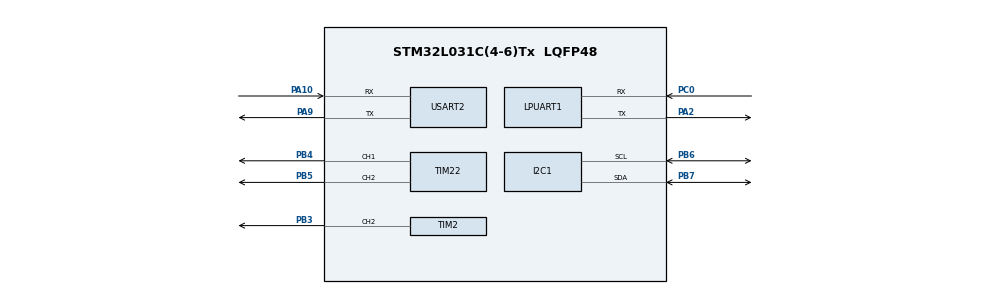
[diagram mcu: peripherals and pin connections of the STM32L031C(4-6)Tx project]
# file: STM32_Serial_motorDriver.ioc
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I2C1.Timing=0x00000608
Mcu.Family=STM32L0
Mcu.Name=STM32L031C(4-6)Tx
Mcu.Package=LQFP48
NVIC.USART2_IRQn=true\:0\:0\:false\:false\:true\:true\:true\:true
PA10.Mode=Asynchronous
PA10.Signal=USART2_RX
PA2.Mode=Asynchronous
PA2.Signal=LPUART1_TX
PA9.Mode=Asynchronous
PA9.Signal=USART2_TX
PB3.Signal=S_TIM2_CH2
PB4.Signal=S_TIM22_CH1
PB5.Signal=S_TIM22_CH2
PB6.Mode=I2C
PB6.Signal=I2C1_SCL
PB7.Mode=I2C
PB7.Signal=I2C1_SDA
PC0.Mode=Asynchronous
PC0.Signal=LPUART1_RX
PH0-OSC_IN.Mode=HSE-External-Oscillator
PH0-OSC_IN.Signal=RCC_OSC_IN
PH1-OSC_OUT.Mode=HSE-External-Oscillator
PH1-OSC_OUT.Signal=RCC_OSC_OUT
ProjectManager.HeapSize=0x200
ProjectManager.StackSize=0x400
ProjectManager.TargetToolchain=STM32CubeIDE
RCC.AHBFreq_Value=2097000
RCC.APB1Freq_Value=2097000
RCC.APB1TimFreq_Value=2097000
RCC.APB2Freq_Value=2097000
RCC.APB2TimFreq_Value=2097000
RCC.HSE_VALUE=8000000
RCC.HSI16_VALUE=16000000
RCC.HSI_VALUE=16000000
RCC.LSE_VALUE=32768
RCC.MSI_VALUE=2097000
RCC.SYSCLKFreq_VALUE=2097000
RCC.VCOOutputFreq_Value=48000000
SH.S_TIM22_CH1.0=TIM22_CH1,PWM Generation1 CH1
SH.S_TIM22_CH2.0=TIM22_CH2,PWM Generation2 CH2
SH.S_TIM2_CH2.0=TIM2_CH2,PWM Generation2 CH2
TIM2.Channel-PWM\ Generation2\ CH2=TIM_CHANNEL_2
TIM22.Channel-PWM\ Generation1\ CH1=TIM_CHANNEL_1
TIM22.Channel-PWM\ Generation2\ CH2=TIM_CHANNEL_2
USART2.VirtualMode-Asynchronous=VM_ASYNC
VP_TIM22_VS_ClockSourceINT.Mode=Internal
VP_TIM2_VS_ClockSourceINT.Mode=Internal
board=custom

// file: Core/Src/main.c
/* USER CODE BEGIN Header */
/**
  ******************************************************************************
  * @file           : main.c
  * @brief          : Main program body
  ******************************************************************************
  * @attention
  *
  * Copyright (c) 2025 STMicroelectronics.
  * All rights reserved.
  *
  * This software is licensed under terms that can be found in the LICENSE file
  * in the root directory of this software component.
  * If no LICENSE file comes with this software, it is provided AS-IS.
  *
  ******************************************************************************
  */
/* USER CODE END Header */
#include "main.h"

/* USER CODE BEGIN Includes */
#include <stdio.h>
/* USER CODE END Includes */

/* USER CODE BEGIN PD */
#define INA219_ADDRESS (0x40<<1 )
#define REG_SHUNT_VOLTAGE   0x01
#define REG_BUS_VOLTAGE		0x02
#define REG_POWER           0x03
#define REG_CURRENT         0x04
#define REG_CALIBRATION		0x05

// INA219 calibration for 33.3 mΩ shunt, 10A range
#define INA219_CAL_VALUE     0x0C00
#define INA219_CURRENT_LSB   0.0004f   // A per bit (0.4 mA)
#define INA219_POWER_LSB     (20.0f * INA219_CURRENT_LSB) // 0.008 W per bit

/* USER CODE END PD */

UART_HandleTypeDef hlpuart1;
UART_HandleTypeDef huart2;

TIM_HandleTypeDef htim2;
TIM_HandleTypeDef htim22;

/* USER CODE BEGIN PV */
uint8_t packet[4] = {0};  // Buffer for packet
uint8_t idx = 0;          // Index for packet building
uint8_t rxByte = 0;       // Single byte for IT reception

#define MIN_PULSE   1000   // µs
#define NEUTRAL     1500   // µs
#define MAX_PULSE   2000   // µs

uint32_t lastMotorCommandTime = 0;
const uint32_t MOTOR_TIMEOUT = 1000; // ms

I2C_HandleTypeDef hi2c1; // Generated by CubeMX

float bus_voltage = 0.0f;
static uint32_t sensorTick = 0;
int16_t raw_current = 0;
float current_mA = 0.0f;

static volatile uint8_t uart2_tx_busy = 0;

typedef struct __attribute__((packed)) {
    uint8_t header;     // 0x55
    uint16_t bus_raw;   // e.g. 0x5FC2
    int16_t cur_raw;   // e.g. 0x00D0
    uint8_t end;        // '\n'
} TelemetryFrame;

static TelemetryFrame tx_frame;

/* USER CODE END PV */

void SystemClock_Config(void);
static void MX_GPIO_Init(void);
static void MX_USART2_UART_Init(void);
static void MX_LPUART1_UART_Init(void);
static void MX_TIM2_Init(void);
static void MX_TIM22_Init(void);
static void MX_I2C1_Init(void); // Prototype added to fix 'implicit declaration'
/* USER CODE BEGIN PFP */
void handleESC(uint8_t dir, uint8_t speedA, uint8_t speedB);
void UART_ProcessByte(uint8_t byte);
uint16_t mapValue(uint16_t x, uint16_t in_min, uint16_t in_max, uint16_t out_min, uint16_t out_max);
uint16_t constrainValue(uint16_t x, uint16_t min_val, uint16_t max_val);
void ESC_SetPulse_us(TIM_HandleTypeDef *htim, uint32_t Channel, uint32_t pulse_us);
void UART2_SendTelemetry(uint16_t bus_raw, int16_t cur_raw);
/* USER CODE END PFP */

int main(void)
{
  HAL_Init();
  SystemClock_Config();

  /* Initialize all configured peripherals */
  MX_GPIO_Init();
  MX_USART2_UART_Init();
  MX_LPUART1_UART_Init();
  MX_TIM2_Init();
  MX_TIM22_Init();
  MX_I2C1_Init(); //

  HAL_Delay(50);

  // Debug helper: check device ready
  if (HAL_I2C_IsDeviceReady(&hi2c1, INA219_ADDRESS, 3, 1000) != HAL_OK) {
      printf("INA219 NOT READY at 0x%02X (HAL_I2C_IsDeviceReady failed)\r\n", (INA219_ADDRESS>>1));
      while(1);
  } else {
      printf("INA219 READY at 0x%02X\r\n", (INA219_ADDRESS>>1));
  }

  // Write calibration register (2 bytes) using Mem_Write
  {
      uint8_t cal_buf[2] = { 0x10, 0x00 }; // 0x1000 example calibration
      if (HAL_I2C_Mem_Write(&hi2c1, INA219_ADDRESS, REG_CALIBRATION,
                            I2C_MEMADD_SIZE_8BIT, cal_buf, 2, 1000) != HAL_OK) {
    	  uint32_t err = HAL_I2C_GetError(&hi2c1);
    	  printf("Cal write failed (I2C err=0x%08lX)\r\n", err);

      } else {
          printf("Cal written OK\r\n");
      }
  }

  /* USER CODE BEGIN 2 */
  HAL_TIM_PWM_Start(&htim2, TIM_CHANNEL_2);
  HAL_TIM_PWM_Start(&htim22, TIM_CHANNEL_1);
  HAL_TIM_PWM_Start(&htim22, TIM_CHANNEL_2);

  // Calibration: INA219 registers are Big-Endian (MSB first)
  uint8_t cal_data[3];
  cal_data[0] = REG_CALIBRATION;
  cal_data[1] = 0x10; // MSB
  cal_data[2] = 0x00; // LSB
  HAL_I2C_Master_Transmit(&hi2c1, INA219_ADDRESS, cal_data, 3, 100);

  HAL_UART_Receive_IT(&huart2, &rxByte, 1);
  handleESC(0, 0, 0);
  /* USER CODE END 2 */

  /* USER CODE BEGIN WHILE */
    while (1)
    {
      // Motor Safety Timeout
      if (HAL_GetTick() - lastMotorCommandTime > MOTOR_TIMEOUT) {
        handleESC(0, 0, 0);
      }

      // Sensor Read & Telemetry Loop (100ms)
      if (HAL_GetTick() - sensorTick > 100) {
          sensorTick = HAL_GetTick();
          uint8_t data[2];
          uint16_t v_temp = 0;
          int16_t i_temp = 0;

          // 1. Read Bus Voltage
          if (HAL_I2C_Mem_Read(&hi2c1, INA219_ADDRESS, REG_BUS_VOLTAGE,
                               I2C_MEMADD_SIZE_8BIT, data, 2, 100) == HAL_OK) {
              v_temp = (data[0] << 8) | data[1];
          }

          // 2. Read Current
          if (HAL_I2C_Mem_Read(&hi2c1, INA219_ADDRESS, REG_CURRENT,
                               I2C_MEMADD_SIZE_8BIT, data, 2, 100) == HAL_OK) {
              i_temp = (int16_t)((data[0] << 8) | data[1]);
          }

          // 3. Send via USART2 (TX)
          UART2_SendTelemetry(v_temp, i_temp);

          // Optional: Keep LPUART1 for human-readable debugging
          printf("Sent Telemetry: V=0x%04X I=0x%04X\r\n", v_temp, i_temp);
      }
      /* USER CODE END 3 */
    }
  /* USER CODE END 3 */
}

void SystemClock_Config(void)
{
  RCC_OscInitTypeDef RCC_OscInitStruct = {0};
  RCC_ClkInitTypeDef RCC_ClkInitStruct = {0};
  RCC_PeriphCLKInitTypeDef PeriphClkInit = {0};

  /** Configure the main internal regulator output voltage
  */
  __HAL_PWR_VOLTAGESCALING_CONFIG(PWR_REGULATOR_VOLTAGE_SCALE1);

  /** Initializes the RCC Oscillators according to the specified parameters
  * in the RCC_OscInitTypeDef structure.
  */
  RCC_OscInitStruct.OscillatorType = RCC_OSCILLATORTYPE_HSI;  // Change to HSI
  RCC_OscInitStruct.HSIState = RCC_HSI_ON;
  RCC_OscInitStruct.HSICalibrationValue = RCC_HSICALIBRATION_DEFAULT;  // Factory trim
  RCC_OscInitStruct.PLL.PLLState = RCC_PLL_NONE;
  if (HAL_RCC_OscConfig(&RCC_OscInitStruct) != HAL_OK)
  {
    Error_Handler();
  }

  /** Initializes the CPU, AHB and APB buses clocks
  */
  RCC_ClkInitStruct.ClockType = RCC_CLOCKTYPE_HCLK|RCC_CLOCKTYPE_SYSCLK
                              |RCC_CLOCKTYPE_PCLK1|RCC_CLOCKTYPE_PCLK2;
  RCC_ClkInitStruct.SYSCLKSource = RCC_SYSCLKSOURCE_HSI;  // HSI as source
  RCC_ClkInitStruct.AHBCLKDivider = RCC_SYSCLK_DIV1;
  RCC_ClkInitStruct.APB1CLKDivider = RCC_HCLK_DIV1;
  RCC_ClkInitStruct.APB2CLKDivider = RCC_HCLK_DIV1;

  if (HAL_RCC_ClockConfig(&RCC_ClkInitStruct, FLASH_LATENCY_0) != HAL_OK)
  {
    Error_Handler();
  }
  PeriphClkInit.PeriphClockSelection = RCC_PERIPHCLK_USART2|RCC_PERIPHCLK_LPUART1;
  PeriphClkInit.Usart2ClockSelection = RCC_USART2CLKSOURCE_PCLK1;
  PeriphClkInit.Lpuart1ClockSelection = RCC_LPUART1CLKSOURCE_PCLK1;
  if (HAL_RCCEx_PeriphCLKConfig(&PeriphClkInit) != HAL_OK)
  {
    Error_Handler();
  }
}

static void MX_LPUART1_UART_Init(void)
{

  hlpuart1.Instance = LPUART1;
  hlpuart1.Init.BaudRate = 115200;
  hlpuart1.Init.WordLength = UART_WORDLENGTH_8B;
  hlpuart1.Init.StopBits = UART_STOPBITS_1;
  hlpuart1.Init.Parity = UART_PARITY_NONE;
  hlpuart1.Init.Mode = UART_MODE_TX_RX;
  hlpuart1.Init.HwFlowCtl = UART_HWCONTROL_NONE;
  hlpuart1.Init.OneBitSampling = UART_ONE_BIT_SAMPLE_DISABLE;
  hlpuart1.AdvancedInit.AdvFeatureInit = UART_ADVFEATURE_NO_INIT;
  if (HAL_UART_Init(&hlpuart1) != HAL_OK)
  {
    Error_Handler();
  }

}

static void MX_USART2_UART_Init(void)
{

  huart2.Instance = USART2;
  huart2.Init.BaudRate = 115200;
  huart2.Init.WordLength = UART_WORDLENGTH_8B;
  huart2.Init.StopBits = UART_STOPBITS_1;
  huart2.Init.Parity = UART_PARITY_NONE;
  huart2.Init.Mode = UART_MODE_TX_RX;
  huart2.Init.HwFlowCtl = UART_HWCONTROL_NONE;
  huart2.Init.OverSampling = UART_OVERSAMPLING_16;
  huart2.Init.OneBitSampling = UART_ONE_BIT_SAMPLE_DISABLE;
  huart2.AdvancedInit.AdvFeatureInit = UART_ADVFEATURE_NO_INIT;
  if (HAL_UART_Init(&huart2) != HAL_OK)
  {
    Error_Handler();
  }

}

static void MX_I2C1_Init(void)
{
  hi2c1.Instance = I2C1;
  hi2c1.Init.Timing = 0x00300F38; // Standard Mode 100kHz @ 16MHz HSI
  hi2c1.Init.OwnAddress1 = 0;
  hi2c1.Init.AddressingMode = I2C_ADDRESSINGMODE_7BIT;
  hi2c1.Init.DualAddressMode = I2C_DUALADDRESS_DISABLE;
  hi2c1.Init.OwnAddress2 = 0;
  hi2c1.Init.OwnAddress2Masks = I2C_OA2_NOMASK;
  hi2c1.Init.GeneralCallMode = I2C_GENERALCALL_DISABLE;
  hi2c1.Init.NoStretchMode = I2C_NOSTRETCH_DISABLE;
  if (HAL_I2C_Init(&hi2c1) != HAL_OK)
  {
    Error_Handler();
  }
  /** Configure Analogue filter */
  if (HAL_I2CEx_ConfigAnalogFilter(&hi2c1, I2C_ANALOGFILTER_ENABLE) != HAL_OK)
  {
    Error_Handler();
  }
  /** Configure Digital filter */
  if (HAL_I2CEx_ConfigDigitalFilter(&hi2c1, 0) != HAL_OK)
  {
    Error_Handler();
  }
}
static void MX_TIM2_Init(void)
{

  TIM_ClockConfigTypeDef sClockSourceConfig = {0};
  TIM_MasterConfigTypeDef sMasterConfig = {0};
  TIM_OC_InitTypeDef sConfigOC = {0};

  htim2.Instance = TIM2;
  htim2.Init.Prescaler = 0;
  htim2.Init.CounterMode = TIM_COUNTERMODE_UP;
  htim2.Init.Period = 319999;
  htim2.Init.ClockDivision = TIM_CLOCKDIVISION_DIV1;
  htim2.Init.AutoReloadPreload = TIM_AUTORELOAD_PRELOAD_DISABLE;
  if (HAL_TIM_Base_Init(&htim2) != HAL_OK)
  {
    Error_Handler();
  }
  sClockSourceConfig.ClockSource = TIM_CLOCKSOURCE_INTERNAL;
  if (HAL_TIM_ConfigClockSource(&htim2, &sClockSourceConfig) != HAL_OK)
  {
    Error_Handler();
  }
  if (HAL_TIM_PWM_Init(&htim2) != HAL_OK)
  {
    Error_Handler();
  }
  sMasterConfig.MasterOutputTrigger = TIM_TRGO_RESET;
  sMasterConfig.MasterSlaveMode = TIM_MASTERSLAVEMODE_DISABLE;
  if (HAL_TIMEx_MasterConfigSynchronization(&htim2, &sMasterConfig) != HAL_OK)
  {
    Error_Handler();
  }
  sConfigOC.OCMode = TIM_OCMODE_PWM1;
  sConfigOC.Pulse = 0;
  sConfigOC.OCPolarity = TIM_OCPOLARITY_HIGH;
  sConfigOC.OCFastMode = TIM_OCFAST_DISABLE;
  if (HAL_TIM_PWM_ConfigChannel(&htim2, &sConfigOC, TIM_CHANNEL_2) != HAL_OK)
  {
    Error_Handler();
  }
  HAL_TIM_MspPostInit(&htim2);

}

static void MX_TIM22_Init(void)
{

  TIM_ClockConfigTypeDef sClockSourceConfig = {0};
  TIM_MasterConfigTypeDef sMasterConfig = {0};
  TIM_OC_InitTypeDef sConfigOC = {0};

  htim22.Instance = TIM22;
  htim22.Init.Prescaler = 0;
  htim22.Init.CounterMode = TIM_COUNTERMODE_UP;
  htim22.Init.Period = 319999;
  htim22.Init.ClockDivision = TIM_CLOCKDIVISION_DIV1;
  htim22.Init.AutoReloadPreload = TIM_AUTORELOAD_PRELOAD_DISABLE;
  if (HAL_TIM_Base_Init(&htim22) != HAL_OK)
  {
    Error_Handler();
  }
  sClockSourceConfig.ClockSource = TIM_CLOCKSOURCE_INTERNAL;
  if (HAL_TIM_ConfigClockSource(&htim22, &sClockSourceConfig) != HAL_OK)
  {
    Error_Handler();
  }
  if (HAL_TIM_PWM_Init(&htim22) != HAL_OK)
  {
    Error_Handler();
  }
  sMasterConfig.MasterOutputTrigger = TIM_TRGO_RESET;
  sMasterConfig.MasterSlaveMode = TIM_MASTERSLAVEMODE_DISABLE;
  if (HAL_TIMEx_MasterConfigSynchronization(&htim22, &sMasterConfig) != HAL_OK)
  {
    Error_Handler();
  }
  sConfigOC.OCMode = TIM_OCMODE_PWM1;
  sConfigOC.Pulse = 0;
  sConfigOC.OCPolarity = TIM_OCPOLARITY_HIGH;
  sConfigOC.OCFastMode = TIM_OCFAST_DISABLE;
  if (HAL_TIM_PWM_ConfigChannel(&htim22, &sConfigOC, TIM_CHANNEL_1) != HAL_OK)
  {
    Error_Handler();
  }
  if (HAL_TIM_PWM_ConfigChannel(&htim22, &sConfigOC, TIM_CHANNEL_2) != HAL_OK)
  {
    Error_Handler();
  }
  HAL_TIM_MspPostInit(&htim22);

}

static void MX_GPIO_Init(void)
{

  /* GPIO Ports Clock Enable */
  __HAL_RCC_GPIOC_CLK_ENABLE();
  __HAL_RCC_GPIOH_CLK_ENABLE();
  __HAL_RCC_GPIOA_CLK_ENABLE();
  __HAL_RCC_GPIOB_CLK_ENABLE();

}

/* USER CODE BEGIN 4 */
uint16_t mapValue(uint16_t x, uint16_t in_min, uint16_t in_max, uint16_t out_min, uint16_t out_max)
{
    return (x - in_min) * (out_max - out_min) / (in_max - in_min) + out_min;
}

uint16_t constrainValue(uint16_t x, uint16_t min_val, uint16_t max_val)
{
    if (x < min_val) return min_val;
    if (x > max_val) return max_val;
    return x;
}

void ESC_SetPulse_us(TIM_HandleTypeDef *htim, uint32_t Channel, uint32_t pulse_us)
{
      // Get timer parameters from htim struct
      uint32_t psc = htim->Init.Prescaler;
      uint32_t arr = htim->Init.Period;

      // Try to determine timer clock in Hz.
      // If you know your timer clock constant at compile time, prefer using that value.
      // For example with MSI=2,097,000 and APB dividers=1 => timer_clk = 2097000
      const uint64_t timer_clk_hz = 16000000ULL; // <-- update if you change system clock

      // compare = pulse_us * (timer_clk_hz / (psc+1)) / 1e6
      uint64_t ticks = ( (uint64_t)pulse_us * timer_clk_hz ) / ( (uint64_t)(psc + 1) * 1000000ULL );

      // clamp: ensure compare <= ARR
      if (ticks > arr) ticks = arr;

      __HAL_TIM_SET_COMPARE(htim, Channel, (uint32_t)ticks);
  }

void handleESC(uint8_t dir, uint8_t speedA, uint8_t speedB)
{

    speedA = constrainValue(speedA, 0, 255);
    speedB = constrainValue(speedB, 0, 255);

    uint16_t pulseL = NEUTRAL;
    uint16_t pulseR = NEUTRAL;

    switch (dir) {
    	case 0:  // Stop - ADD THIS CASE
			pulseL = NEUTRAL;
			pulseR = NEUTRAL;
			break;
        case 1:  // Forward
            pulseL = NEUTRAL + mapValue(speedA, 0, 255, 0, 500);
            pulseR = NEUTRAL + mapValue(speedB, 0, 255, 0, 500);
            break;
        case 2:  // Backward
            pulseL = NEUTRAL - mapValue(speedA, 0, 255, 0, 500);
            pulseR = NEUTRAL - mapValue(speedB, 0, 255, 0, 500);
            break;
        case 3:  // Pivot CW
            pulseL = NEUTRAL + mapValue(speedA, 0, 255, 0, 500);
            pulseR = NEUTRAL - mapValue(speedB, 0, 255, 0, 500);
            break;
        case 4:  // Pivot CCW
            pulseL = NEUTRAL - mapValue(speedA, 0, 255, 0, 500);
            pulseR = NEUTRAL + mapValue(speedB, 0, 255, 0, 500);
            break;
    }

    pulseL = constrainValue(pulseL, MIN_PULSE, MAX_PULSE);
    pulseR = constrainValue(pulseR, MIN_PULSE, MAX_PULSE);

    // Example: ESCs on TIM22 CH1 (PB4) and CH2 (PB5)
    ESC_SetPulse_us(&htim22, TIM_CHANNEL_1, pulseL);
    ESC_SetPulse_us(&htim22, TIM_CHANNEL_2, pulseR);
//    printf("PulseA %X PulseB %X \n",pulseL,pulseR);
}

// New function for byte-by-byte processing (called from IT callback)
void UART_ProcessByte(uint8_t byte) {
  if (idx == 0) {
    // Waiting for header
    if (byte == 0xAA) {
      packet[idx++] = byte;
      // printf("Motor packet started\n");  // Uncomment only if needed, but avoid for production
    } else {
      // printf("Invalid byte (no header): 0x%02X\n", byte);  // Avoid blocking print
    }
  } else {
    packet[idx++] = byte;
    if (idx == 4) {
      // Full packet received - process it
      handleESC(packet[1], packet[2], packet[3]);
      lastMotorCommandTime = HAL_GetTick();  // Update timeout timer

      // Optional: Debug print FULL packet only (do this sparingly, or buffer for main loop)
//      printf("Full packet: 0x%02X 0x%02X 0x%02X 0x%02X\n", packet[0], packet[1], packet[2], packet[3]);

      idx = 0;  // Reset for next packet
    }
  }
}
void Data_debug(uint8_t byte) {
	printf("0x%02X\n", byte);
}

// UART RX complete callback (auto-called by HAL on byte reception)
void HAL_UART_RxCpltCallback(UART_HandleTypeDef *huart) {
  if (huart->Instance == USART2) {
    UART_ProcessByte(rxByte);
//	  Data_debug(rxByte);
    // Restart listening for the next byte
    HAL_UART_Receive_IT(&huart2, &rxByte, 1);
  }
}
void HAL_UART_ErrorCallback(UART_HandleTypeDef *huart) {
  if (huart->Instance == USART2) {
    uint32_t isr = huart->Instance->ISR;  // Read raw flags
    printf("UART Error: %lu | ISR: 0x%08lX\n", huart->ErrorCode, isr);

    // Clear errors (including ORE by reading RDR)
    if (isr & USART_ISR_ORE) {
      volatile uint8_t dummy = huart->Instance->RDR;
      (void)dummy;
    }
    __HAL_UART_CLEAR_FLAG(huart, UART_CLEAR_OREF | UART_CLEAR_NEF | UART_CLEAR_PEF | UART_CLEAR_FEF);

    HAL_UART_Receive_IT(&huart2, &rxByte, 1);
  }
}
int _write(int file, char *ptr, int len)
{
    HAL_UART_Transmit(&hlpuart1, (uint8_t*)ptr, len, 50);
    return len;
}

/* USER CODE BEGIN 4 */
void HAL_I2C_MspInit(I2C_HandleTypeDef* hi2c)
{
  GPIO_InitTypeDef GPIO_InitStruct = {0};
  if(hi2c->Instance==I2C1)
  {
    __HAL_RCC_GPIOB_CLK_ENABLE();
    __HAL_RCC_I2C1_CLK_ENABLE();

    /**I2C1 GPIO Configuration
    PB6     ------> I2C1_SCL
    PB7     ------> I2C1_SDA
    */
    GPIO_InitStruct.Pin = GPIO_PIN_6|GPIO_PIN_7;
    GPIO_InitStruct.Mode = GPIO_MODE_AF_OD;
    GPIO_InitStruct.Pull = GPIO_PULLUP;
    GPIO_InitStruct.Speed = GPIO_SPEED_FREQ_VERY_HIGH;
    GPIO_InitStruct.Alternate = GPIO_AF1_I2C1;
    HAL_GPIO_Init(GPIOB, &GPIO_InitStruct);
  }
}

void INA219_WriteCalibration(void)
{
    uint8_t buf[2];
    buf[0] = (INA219_CAL_VALUE >> 8) & 0xFF;
    buf[1] = INA219_CAL_VALUE & 0xFF;

    HAL_I2C_Mem_Write(&hi2c1,
                      INA219_ADDRESS,
                      REG_CALIBRATION,
                      I2C_MEMADD_SIZE_8BIT,
                      buf, 2, 1000);
}

void UART2_SendTelemetry(uint16_t bus_raw, int16_t cur_raw)
{
    // If UART is still sending the previous frame, skip this one
    if (uart2_tx_busy) return;

    tx_frame.header  = 0x55;

    // Explicitly swap bytes if you want Big-Endian (Standard for telemetry)
    // If your receiver handles Little-Endian, you can just do: tx_frame.bus_raw = bus_raw;
    tx_frame.bus_raw = ((bus_raw << 8) & 0xFF00) | ((bus_raw >> 8) & 0x00FF);
    tx_frame.cur_raw = ((cur_raw << 8) & 0xFF00) | ((cur_raw >> 8) & 0x00FF);

    tx_frame.end     = 0x0A; // '\n'

    uart2_tx_busy = 1;
    HAL_UART_Transmit_IT(&huart2, (uint8_t *)&tx_frame, sizeof(TelemetryFrame));
}

void HAL_UART_TxCpltCallback(UART_HandleTypeDef *huart)
{
    if (huart->Instance == USART2) {
        uart2_tx_busy = 0;
    }
}

/* USER CODE END 4 */

/* USER CODE END 4 */

void Error_Handler(void)
{
  __disable_irq();
  while (1)
  {
  }
}
